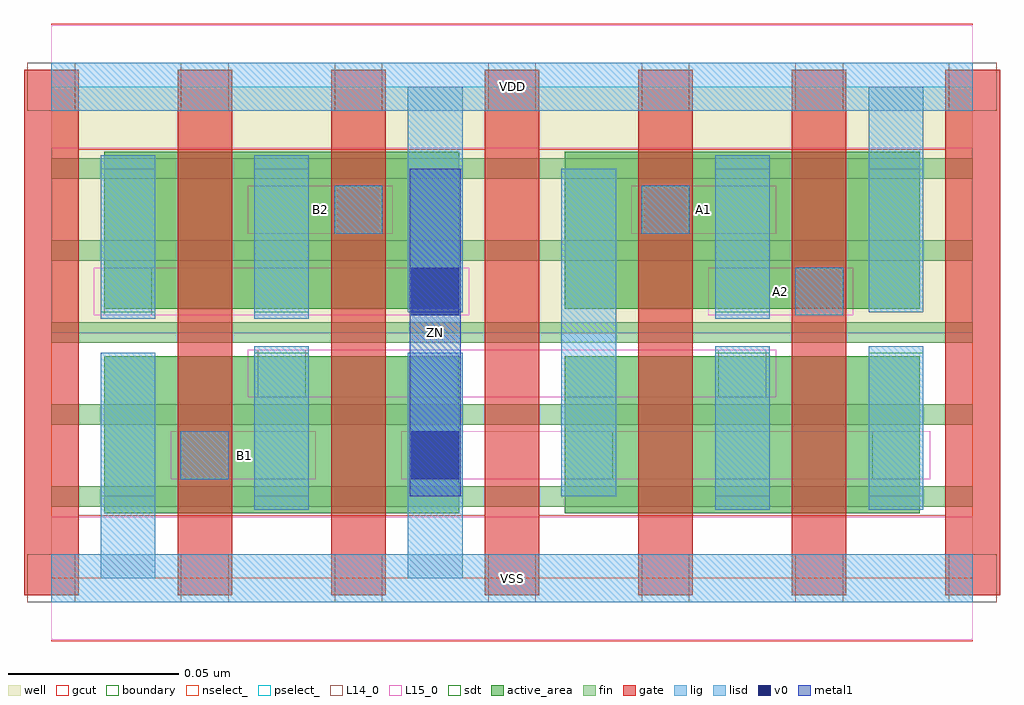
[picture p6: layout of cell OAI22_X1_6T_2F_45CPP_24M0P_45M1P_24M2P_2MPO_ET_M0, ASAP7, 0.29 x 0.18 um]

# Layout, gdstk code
import gdstk
lib = gdstk.Library(unit=1e-6, precision=2.5e-10)
def R(c, l, rs):  # rectangles x0, y0, x1, y1
    for r in rs: c.add(gdstk.rectangle(r[:2], r[2:], *l))
def A(c, l, x, y, w, h, nx, ny, dx, dy):  # array of equal rectangles
    R(c, l, [(x+i*dx, y+j*dy, x+i*dx+w, y+j*dy+h) for i in range(nx) for j in range(ny)])
well = (1, 0)
fin = (2, 0)
gate = (7, 0)
gcut = (10, 0)
active_area = (11, 0)
nselect_ = (12, 0)
pselect_ = (13, 0)
L14_0 = (14, 0)
L15_0 = (15, 0)
lig = (16, 0)
lisd = (17, 0)
v0 = (18, 0)
metal1 = (19, 0)
sdt = (88, 0)
boundary = (100, 0)

oai22_x1_6t_2f_45cpp_24m = lib.new_cell('OAI22_X1_6T_2F_45CPP_24M0P_45M1P_24M2P_2MPO_ET_M0')
R(oai22_x1_6t_2f_45cpp_24m, well, [(0,0.072,0.27,0.144)])
A(oai22_x1_6t_2f_45cpp_24m, fin, 0, 0.021, 0.27, 0.006, 1, 5, 0, 0.024)
A(oai22_x1_6t_2f_45cpp_24m, gate, -0.008, -0.005, 0.016, 0.154, 7, 1, 0.045, 0)
A(oai22_x1_6t_2f_45cpp_24m, gcut, -0.008, -0.005, 0.016, 0.154, 3, 1, 0.135, 0)
R(oai22_x1_6t_2f_45cpp_24m, gcut, [(0,-0.0185,0.27,0.0185), (0,0.1255,0.27,0.1625)])
R(oai22_x1_6t_2f_45cpp_24m, active_area, [(0.0155,0.019,0.0745,0.065), (0.0605,0.019,0.1195,0.065), (0.1505,0.019,0.2095,0.065), (0.1955,0.019,0.2545,0.065), (0.0155,0.079,0.0745,0.125), (0.0605,0.079,0.1195,0.125), (0.1505,0.079,0.2095,0.125), (0.1955,0.079,0.2545,0.125)])
R(oai22_x1_6t_2f_45cpp_24m, nselect_, [(0,0,0.27,0.072)])
R(oai22_x1_6t_2f_45cpp_24m, pselect_, [(0,0.072,0.27,0.144)])
A(oai22_x1_6t_2f_45cpp_24m, L14_0, -0.007, -0.007, 0.014, 0.014, 7, 2, 0.045, 0.144)
R(oai22_x1_6t_2f_45cpp_24m, L14_0, [(0.038,0.029,0.052,0.043), (0.1505,0.029,0.1645,0.043), (0.2405,0.029,0.2545,0.043), (0.0605,0.053,0.0745,0.067), (0.1955,0.053,0.2095,0.067), (0.0155,0.077,0.0295,0.091), (0.218,0.077,0.232,0.091), (0.083,0.101,0.097,0.115), (0.173,0.101,0.187,0.115)])
R(oai22_x1_6t_2f_45cpp_24m, L15_0, [(0,-0.018,0.27,0.018), (0.035,0.029,0.0775,0.043), (0.1025,0.029,0.2575,0.043), (0.0575,0.053,0.2125,0.067), (0.0125,0.077,0.1225,0.091), (0.1925,0.077,0.235,0.091), (0.0575,0.101,0.1,0.115), (0.17,0.101,0.2125,0.115), (0,0.126,0.27,0.162)])
R(oai22_x1_6t_2f_45cpp_24m, lig, [(0,-0.007,0.27,0.007), (0.038,0.029,0.052,0.043), (0.218,0.077,0.232,0.091), (0.083,0.101,0.097,0.115), (0.173,0.101,0.187,0.115), (0,0.137,0.27,0.151)])
R(oai22_x1_6t_2f_45cpp_24m, lisd, [(0.0145,0,0.0305,0.066), (0.1045,0,0.1205,0.066), (0.0595,0.02,0.0755,0.068), (0.1945,0.02,0.2105,0.068), (0.2395,0.02,0.2555,0.068), (0.1495,0.024,0.1655,0.12), (0.0145,0.076,0.0305,0.124), (0.0595,0.076,0.0755,0.124), (0.1945,0.076,0.2105,0.124), (0.1045,0.078,0.1205,0.144), (0.2395,0.078,0.2555,0.144)])
R(oai22_x1_6t_2f_45cpp_24m, v0, [(0.1055,0.029,0.1195,0.043), (0.1055,0.077,0.1195,0.091)])
R(oai22_x1_6t_2f_45cpp_24m, metal1, [(0.105,0.024,0.12,0.12)])
A(oai22_x1_6t_2f_45cpp_24m, sdt, 0.0145, 0.024, 0.016, 0.042, 3, 2, 0.045, 0.054)
R(oai22_x1_6t_2f_45cpp_24m, sdt, [(0.1495,0.024,0.1655,0.12), (0.1945,0.024,0.2105,0.066), (0.2395,0.024,0.2555,0.066), (0.1945,0.078,0.2105,0.12), (0.2395,0.078,0.2555,0.12)])
R(oai22_x1_6t_2f_45cpp_24m, boundary, [(0,0,0.27,0.144)])
oai22_x1_6t_2f_45cpp_24m.add(gdstk.Label('B1', (0.0568,0.036), layer=15, texttype=251))
oai22_x1_6t_2f_45cpp_24m.add(gdstk.Label('B2', (0.0788,0.108), layer=15, texttype=251))
oai22_x1_6t_2f_45cpp_24m.add(gdstk.Label('A1', (0.1913,0.108), layer=15, texttype=251))
oai22_x1_6t_2f_45cpp_24m.add(gdstk.Label('A2', (0.2138,0.084), layer=15, texttype=251))
oai22_x1_6t_2f_45cpp_24m.add(gdstk.Label('VDD', (0.135,0.144), layer=15, texttype=251))
oai22_x1_6t_2f_45cpp_24m.add(gdstk.Label('VSS', (0.135,0), layer=15, texttype=251))
oai22_x1_6t_2f_45cpp_24m.add(gdstk.Label('VDD', (0.135,0.144), layer=1, texttype=251))
oai22_x1_6t_2f_45cpp_24m.add(gdstk.Label('VSS', (0.135,0), layer=3, texttype=251))
oai22_x1_6t_2f_45cpp_24m.add(gdstk.Label('ZN', (0.1125,0.072), layer=19, texttype=251))

lib.write_gds('OAI22_X1_6T_2F_45CPP_24M0P_45M1P_24M2P_2MPO_ET_M0.gds')
